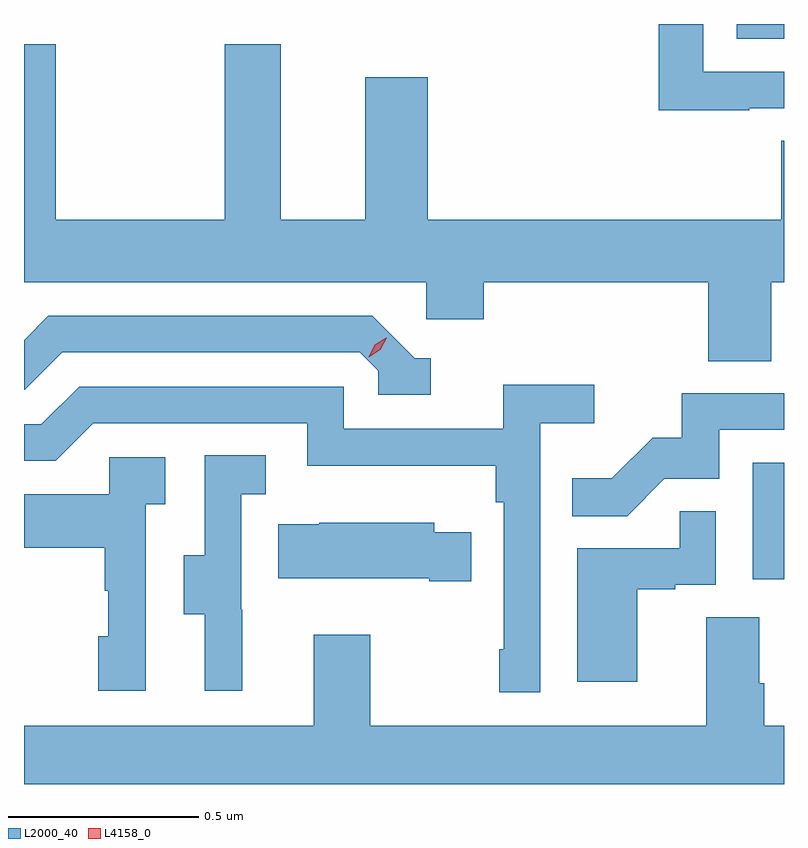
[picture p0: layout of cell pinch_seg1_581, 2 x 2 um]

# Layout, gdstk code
import gdstk
lib = gdstk.Library(unit=1e-6, precision=1e-09)
def R(c, l, rs):  # rectangles x0, y0, x1, y1
    for r in rs: c.add(gdstk.rectangle(r[:2], r[2:], *l))
def P(c, l, *ps):  # polygons
    for p in ps: c.add(gdstk.Polygon(p, *l))
L2000_40 = (2000, 40)
L4158_0 = (4158, 0)

pinch_seg1_581 = lib.new_cell('pinch_seg1_581')
R(pinch_seg1_581, L2000_40, [(1029.164,518.982,1029.246,519.289), (1029.122,520.404,1029.246,520.443)])
P(pinch_seg1_581, L2000_40, [(1029.155,520.221),(1029.246,520.221),(1029.246,520.317),(1029.033,520.317),(1029.033,520.443),(1028.917,520.443),(1028.917,520.216),(1029.155,520.216)],
  [(1029.212,519.764),(1029.246,519.764),(1029.246,520.136),(1029.239,520.136),(1029.239,519.928),(1028.308,519.928),(1028.308,520.303),(1028.144,520.303),(1028.144,519.928),(1027.921,519.928),(1027.921,520.39),(1027.774,520.39),(1027.774,519.928),(1027.329,519.928),(1027.329,520.39),(1027.246,520.39),(1027.246,519.764),(1028.304,519.764),(1028.304,519.666),(1028.456,519.666),(1028.456,519.764),(1029.047,519.764),(1029.047,519.556),(1029.212,519.556)],
  [(1028.317,519.564),(1028.274,519.564),(1028.163,519.675),(1027.31,519.675),(1027.246,519.611),(1027.246,519.48),(1027.248,519.48),(1027.347,519.579),(1028.13,519.579),(1028.178,519.531),(1028.178,519.468),(1028.317,519.468)],
  [(1028.604,519.392),(1028.746,519.392),(1028.746,519.494),(1028.507,519.494),(1028.507,519.378),(1028.088,519.378),(1028.088,519.489),(1027.391,519.489),(1027.292,519.39),(1027.246,519.39),(1027.246,519.294),(1027.329,519.294),(1027.428,519.393),(1027.992,519.393),(1027.992,519.281),(1028.488,519.281),(1028.488,519.185),(1028.508,519.185),(1028.508,518.797),(1028.496,518.797),(1028.496,518.685),(1028.604,518.685)],
  [(1028.931,519.246),(1029.075,519.246),(1029.075,519.375),(1029.246,519.375),(1029.246,519.471),(1028.977,519.471),(1028.977,519.354),(1028.9,519.354),(1028.793,519.247),(1028.689,519.247),(1028.689,519.148),(1028.833,519.148)],
  [(1027.82,518.901),(1027.818,518.901),(1027.818,519.205),(1027.882,519.205),(1027.882,519.308),(1027.722,519.308),(1027.722,519.045),(1027.667,519.045),(1027.667,518.89),(1027.721,518.89),(1027.721,518.688),(1027.82,518.688)],
  [(1027.566,519.179),(1027.618,519.179),(1027.618,519.303),(1027.47,519.303),(1027.47,519.205),(1027.246,519.205),(1027.246,519.065),(1027.458,519.065),(1027.458,518.951),(1027.468,518.951),(1027.468,518.832),(1027.442,518.832),(1027.442,518.688),(1027.566,518.688)],
  [(1028.86,518.955),(1028.96,518.955),(1028.96,518.967),(1029.066,518.967),(1029.066,519.161),(1028.971,519.161),(1028.971,519.063),(1028.702,519.063),(1028.702,518.712),(1028.86,518.712)],
  [(1028.423,519.106),(1028.325,519.106),(1028.325,519.13),(1028.023,519.13),(1028.023,519.127),(1027.915,519.127),(1027.915,518.984),(1028.312,518.984),(1028.312,518.977),(1028.423,518.977)],
  [(1029.246,518.596),(1029.194,518.596),(1029.194,518.708),(1029.181,518.708),(1029.181,518.882),(1029.041,518.882),(1029.041,518.596),(1028.157,518.596),(1028.157,518.836),(1028.009,518.836),(1028.009,518.596),(1027.246,518.596),(1027.246,518.443),(1029.246,518.443)])
P(pinch_seg1_581, L4158_0, [(1028.153,519.566),(1028.153,519.567),(1028.169,519.599),(1028.199,519.618),(1028.2,519.618),(1028.2,519.618),(1028.184,519.586),(1028.153,519.566)])

lib.write_gds('pinch_seg1_581.gds')
